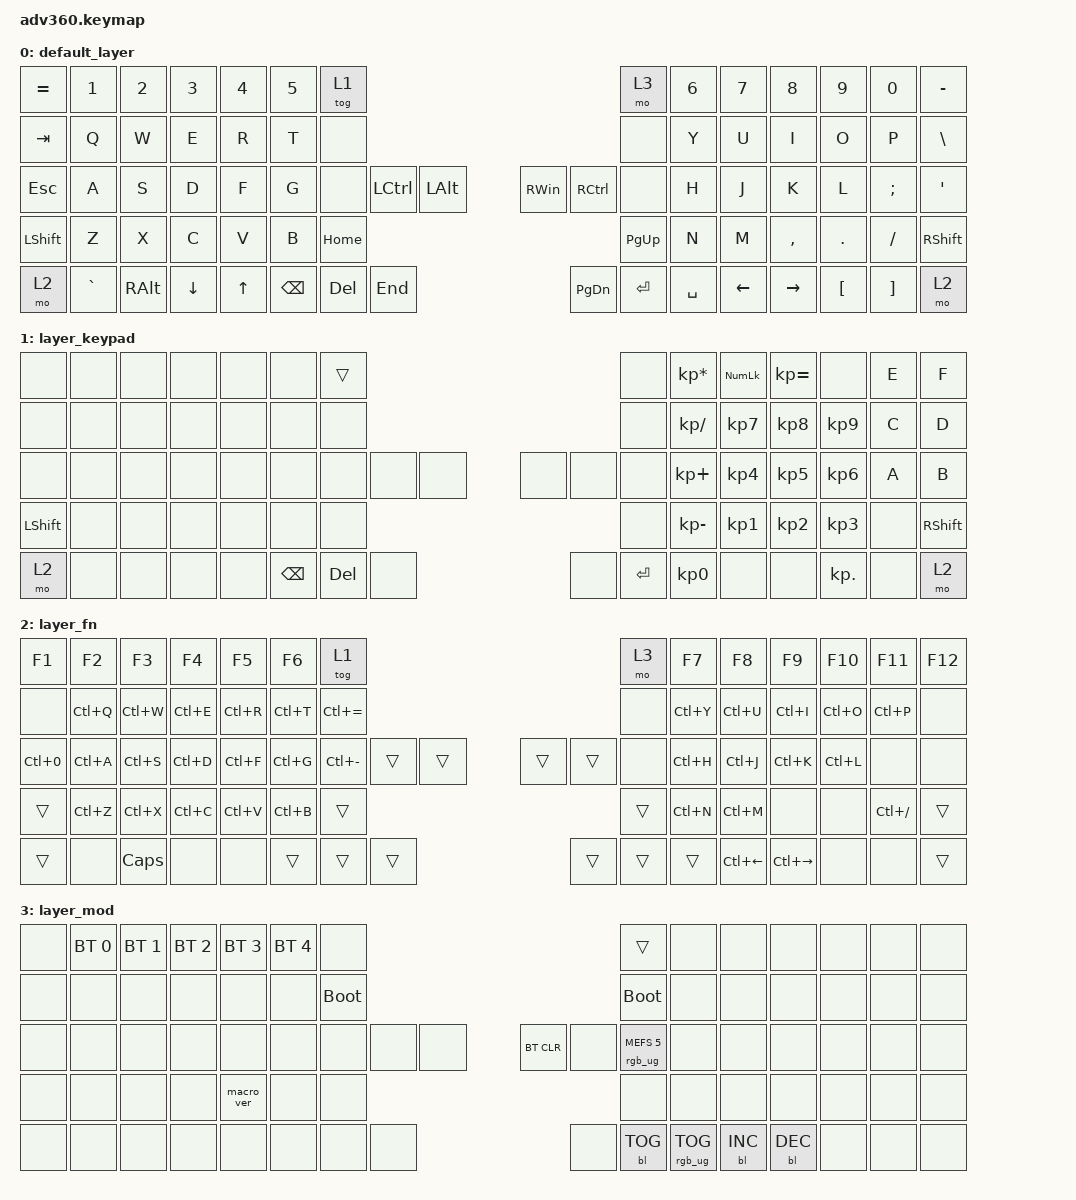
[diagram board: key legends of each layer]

/*
 * Copyright (c) 2020 The ZMK Contributors
 *
 * SPDX-License-Identifier: MIT
 */


/* THIS FILE WAS GENERATED!
 *
 * This file was generated automatically. You may or may not want to
 * edit it directly.
 */

#include <behaviors.dtsi>
#include <dt-bindings/zmk/keys.h>
#include <dt-bindings/zmk/bt.h>
#include <dt-bindings/zmk/rgb.h>
#include <dt-bindings/zmk/backlight.h>

/ {
  behaviors {
    #include "macros.dtsi"
    #include "version.dtsi"

    hm: homerow_mods {
        compatible = "zmk,behavior-hold-tap";
        label = "HOMEROW_MODS";
        #binding-cells = <2>;
        tapping-term-ms = <200>;
        quick_tap_ms = <175>;
        flavor = "tap-preferred";
        bindings = <&kp>, <&kp>;
    };
  };

    keymap {
        compatible = "zmk,keymap";


        default_layer {
            bindings = <
 &kp EQUAL     &kp N1         &kp N2          &kp N3        &kp N4  &kp N5              &tog 1                                                                     &mo 3  &kp N6          &kp N7           &kp N8    &kp N9    &kp N0  &kp MINUS
   &kp TAB      &kp Q          &kp W           &kp E         &kp R   &kp T               &none                                                                     &none   &kp Y           &kp U            &kp I     &kp O     &kp P   &kp BSLH
   &kp ESC      &kp A          &kp S           &kp D         &kp F   &kp G               &none  &kp LCTRL  &kp LALT                  &kp RIGHT_WIN  &kp RCTRL      &none   &kp H           &kp J            &kp K     &kp L  &kp SEMI    &kp SQT
 &kp LSHFT      &kp Z          &kp X           &kp C         &kp V   &kp B                                 &kp HOME                      &kp PG_UP                         &kp N           &kp M        &kp COMMA   &kp DOT  &kp FSLH  &kp RSHFT
     &mo 2  &kp GRAVE  &kp RIGHT_ALT  &kp DOWN_ARROW  &kp UP_ARROW                    &kp BSPC    &kp DEL   &kp END                      &kp PG_DN  &kp ENTER  &kp SPACE          &kp LEFT_ARROW  &kp RIGHT_ARROW  &kp LBKT  &kp RBKT      &mo 2
            >;
        };

        layer_keypad {
            bindings = <
     &none   &none   &none   &none   &none   &none              &trans                                                          &none  &kp KP_MULTIPLY  &kp KP_NUM  &kp KP_EQUAL       &none   &kp E      &kp F
     &none   &none   &none   &none   &none   &none               &none                                                          &none     &kp KP_SLASH   &kp KP_N7     &kp KP_N8   &kp KP_N9   &kp C      &kp D
     &none   &none   &none   &none   &none   &none               &none    &none   &none                   &none      &none      &none      &kp KP_PLUS   &kp KP_N4     &kp KP_N5   &kp KP_N6   &kp A      &kp B
 &kp LSHFT   &none   &none   &none   &none   &none                                &none                   &none                           &kp KP_MINUS   &kp KP_N1     &kp KP_N2   &kp KP_N3   &none  &kp RSHFT
     &mo 2   &none   &none   &none   &none                    &kp BSPC  &kp DEL   &none                   &none  &kp ENTER  &kp KP_N0                        &none         &none  &kp KP_DOT   &none      &mo 2
            >;
        };

        layer_fn {
            bindings = <
           &kp F1     &kp F2        &kp F3     &kp F4     &kp F5     &kp F6                   &tog 1                                                   &mo 3     &kp F7        &kp F8         &kp F9    &kp F10        &kp F11  &kp F12
            &none  &kp LC(Q)     &kp LC(W)  &kp LC(E)  &kp LC(R)  &kp LC(T)            &kp LC(EQUAL)                                                   &none  &kp LC(Y)     &kp LC(U)      &kp LC(I)  &kp LC(O)      &kp LC(P)    &none
 &kp LC(NUMBER_0)  &kp LC(A)     &kp LC(S)  &kp LC(D)  &kp LC(F)  &kp LC(G)            &kp LC(MINUS)  &trans  &trans                  &trans  &trans   &none  &kp LC(H)     &kp LC(J)      &kp LC(K)  &kp LC(L)          &none    &none
           &trans  &kp LC(Z)     &kp LC(X)  &kp LC(C)  &kp LC(V)  &kp LC(B)                                   &trans                  &trans                  &kp LC(N)     &kp LC(M)          &none      &none  &kp LC(SLASH)   &trans
           &trans      &none  &kp CAPSLOCK      &none      &none                              &trans  &trans  &trans                  &trans  &trans  &trans             &kp LC(LEFT)  &kp LC(RIGHT)      &none          &none   &trans
            >;
        };

        layer_mod {
            bindings = <
  &none  &bt BT_SEL 0  &bt BT_SEL 1  &bt BT_SEL 2  &bt BT_SEL 3  &bt BT_SEL 4                  &none                                                                          &trans   &none       &none       &none   &none   &none   &none
  &none         &none         &none         &none         &none         &none            &bootloader                                                                     &bootloader   &none       &none       &none   &none   &none   &none
  &none         &none         &none         &none         &none         &none                  &none   &none   &none                  &bt BT_CLR       &none  &rgb_ug RGB_MEFS_CMD 5   &none       &none       &none   &none   &none   &none
  &none         &none         &none         &none    &macro_ver         &none                                  &none                       &none                                       &none       &none       &none   &none   &none   &none
  &none         &none         &none         &none         &none                                &none   &none   &none                       &none  &bl BL_TOG         &rgb_ug RGB_TOG          &bl BL_INC  &bl BL_DEC   &none   &none   &none
            >;
        };

    };
};
